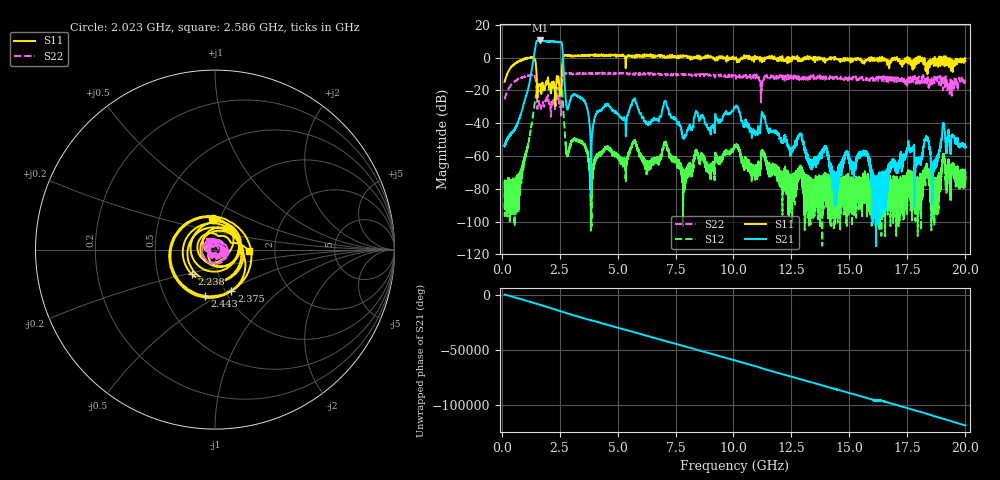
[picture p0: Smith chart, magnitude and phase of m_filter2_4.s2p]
!Created with skrf (http://scikit-rf.org).
# GHz S RI R 50.0
!freq ReS11 ImS11 ReS21 ImS21 ReS12 ImS12 ReS22 ImS22
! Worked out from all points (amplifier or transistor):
!   20013 points, 130 MHz to 20 GHz, reference 50 ohm
!   highest |S21| = 10.5 dB at 1.675 GHz (marker M1)
!   |S21| within 3 dB of that: 1.464 GHz to 2.611 GHz (1.147 GHz wide, 56.3 % of centre)
!   unconditionally stable (mu >= 1): start of sweep to 1.094 GHz; 1.412 GHz to 2.636 GHz; 14.39 GHz to 15.93 GHz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
!   at 3.465 GHz: K = -595.22, MSG = 13.4 dB, |S12| = -51.4 dB
!   at 10.14 GHz: K = 2297.41, MAG = -24.9 dB, |S12| = -53.1 dB
!   at 20 GHz: K = 283912.56, MAG = -50.1 dB, |S12| = -69.6 dB
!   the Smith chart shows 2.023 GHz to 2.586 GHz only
!   S11 on the Smith chart (normalised r, x): 2.023 GHz: 0.92, +0.33; 2.238 GHz: 0.74, -0.21; 2.375 GHz: 1.07, -0.52; 2.443 GHz: 0.79, -0.44; 2.586 GHz: 1.47, -0.03
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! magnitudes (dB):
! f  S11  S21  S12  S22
! 130 MHz  -14.7  -53.5  -75.2  -25.5
! 725 MHz  -2.4  -38.7  -74.4  -13.0
! 1.37 GHz  -0.1  -1.4  -33.6  -10.6
! 1.675 GHz  -16.6  10.5  -20.1  -28.9
! 2.023 GHz  -15.3  9.7  -19.3  -25.6
! 2.238 GHz  -14.5  9.8  -18.7  -26.0
! 2.375 GHz  -12.1  9.5  -18.7  -22.9
! 2.443 GHz  -11.6  9.3  -18.8  -22.5
! 2.586 GHz  -14.4  9.1  -19.0  -24.7
! 2.835 GHz  1.3  -31.7  -59.2  -9.6
! 3.442 GHz  1.3  -24.4  -51.4  -9.4
! 3.879 GHz  1.6  -53.8  -81.2  -9.8
! 4.523 GHz  1.2  -29.2  -55.0  -9.6
! 6.754 GHz  1.4  -38.1  -63.6  -9.8
! 7.881 GHz  0.6  -48.8  -71.1  -10.2
! 10.06 GHz  -0.4  -30.1  -53.8  -11.0
! 13.38 GHz  -0.3  -65.1  -76.0  -12.4
! 16.69 GHz  -3.7  -69.4  -79.7  -14.9
! 18.33 GHz  -3.5  -48.5  -66.3  -15.9
! 18.63 GHz  -3.8  -66.5  -80.5  -11.4
! 19.04 GHz  -0.6  -40.4  -59.5  -19.9
! 20 GHz  -2.0  -54.7  -69.6  -13.0
